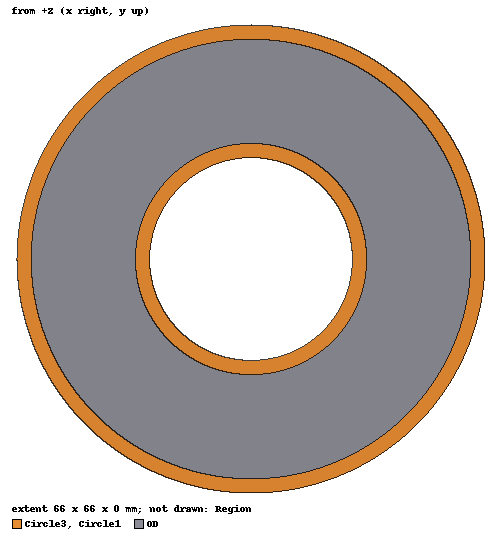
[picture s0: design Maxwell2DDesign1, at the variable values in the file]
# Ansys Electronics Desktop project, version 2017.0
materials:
  vacuum: permittivity=1
  copper: permeability=0.999991 conductivity=58000000
  KoolMu - 0077620A7: permeability{BType=normal HUnit=A_per_meter BUnit=tesla curve (0, 0) (104.1666667, 0.016252994) (111.1111111, 0.017325058) (118.0555556, 0.018395348) (125, 0.019463818) (131.9444444, 0.020530422) (138.8888889, 0.021595119) (145.8333333, 0.022657867) (152.7777778, 0.023718626) (159.7222222, 0.024777358) (166.6666667, 0.025834026) (173.6111111, 0.026888595) (180.5555556, 0.02794103) (187.5, 0.028991297) (194.4444444, 0.030039365) (201.3888889, 0.031085203) (208.3333333, 0.032128779) (215.2777778, 0.033170066) (222.2222222, 0.034209034) (229.1666667, 0.035245657) (236.1111111, 0.036279907) (243.0555556, 0.037311758) (250, 0.038341187) (256.9444444, 0.039368167) (263.8888889, 0.040392677) (270.8333333, 0.041414693) (277.7777778, 0.042434192) (284.7222222, 0.043451154) (291.6666667, 0.044465558) (298.6111111, 0.045477382) (305.5555556, 0.046486609) (312.5, 0.047493218) (319.4444444, 0.048497191) (326.3888889, 0.04949851) (333.3333333, 0.050497159) (340.2777778, 0.051493119) (347.2222222, 0.052486376) (354.1666667, 0.053476912) (361.1111111, 0.054464713) (368.0555556, 0.055449764) (375, 0.05643205) (381.9444444, 0.057411558) (388.8888889, 0.058388274) (395.8333333, 0.059362185) (402.7777778, 0.060333279) (409.7222222, 0.061301543) (416.6666667, 0.062266965) (423.6111111, 0.063229535) (430.5555556, 0.064189241) (437.5, 0.065146073) (444.4444444, 0.066100021) (451.3888889, 0.067051074) (458.3333333, 0.067999224) (465.2777778, 0.068944461) (472.2222222, 0.069886776) (479.1666667, 0.070826161) (486.1111111, 0.071762608) (493.0555556, 0.072696109) (500, 0.073626657) (506.9444444, 0.074554245) (513.8888889, 0.075478865) (520.8333333, 0.076400512) (527.7777778, 0.077319179) (534.7222222, 0.07823486) (541.6666667, 0.07914755) (548.6111111, 0.080057243) (555.5555556, 0.080963934) (562.5, 0.081867619) (569.4444444, 0.082768293) (576.3888889, 0.083665951) (583.3333333, 0.08456059) (590.2777778, 0.085452207) (597.2222222, 0.086340796) (604.1666667, 0.087226356) (611.1111111, 0.088108884) (618.0555556, 0.088988375) (625, 0.089864829) (631.9444444, 0.090738242) (638.8888889, 0.091608613) (645.8333333, 0.09247594) (652.7777778, 0.093340221) (659.7222222, 0.094201454) (666.6666667, 0.095059639) (673.6111111, 0.095914774) (680.5555556, 0.096766858) (687.5, 0.097615892) (694.4444444, 0.098461874) (701.3888889, 0.099304804) (708.3333333, 0.100144683) (715.2777778, 0.10098151) (722.2222222, 0.101815285) (729.1666667, 0.10264601) (736.1111111, 0.103473685) (743.0555556, 0.10429831) (750, 0.105119887) (756.9444444, 0.105938416) (763.8888889, 0.1067539) (770.8333333, 0.107566339) (777.7777778, 0.108375736) (784.7222222, 0.109182092) (791.6666667, 0.109985409) (798.6111111, 0.110785689) (805.5555556, 0.111582934) (812.5, 0.112377147) (819.4444444, 0.11316833) (826.3888889, 0.113956487) (833.3333333, 0.114741619) (840.2777778, 0.11552373) (847.2222222, 0.116302822) (854.1666667, 0.1170789) (861.1111111, 0.117851966) (868.0555556, 0.118622023) (875, 0.119389076) (881.9444444, 0.120153128) (888.8888889, 0.120914182) (895.8333333, 0.121672243) (902.7777778, 0.122427315) (909.7222222, 0.123179401) (916.6666667, 0.123928507) (923.6111111, 0.124674636)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}
  air: permittivity=1.0006 permeability=1.0000004
  steel_1010: permittivity=1 permeability{BType=normal HUnit=A_per_meter BUnit=tesla curve (0, 0) (238.7, 0.2003) (318.3, 0.3204) (358.1, 0.40045) (437.7, 0.50055) (477.5, 0.5606) (636.6, 0.7908) (795.8, 0.931) (1114.1, 1.1014) (1273.2, 1.2016) (1591.5, 1.302) (2228.2, 1.4028) (3183.1, 1.524) (4774.6, 1.626) (6366.2, 1.698) (7957.7, 1.73) (15915.5, 1.87) (31831, 1.99) (47746.5, 2.04) (63662, 2.07) (79577.5, 2.095) (159155, 2.2) (318310, 2.4)} conductivity=2000000 lande_g_factor=2
  NdFe35: permittivity=1 permeability=1.0997785 conductivity=625000 magnetic_coercivity{Magnitude=-890000A_per_meter DirComp1=1 DirComp2=0 DirComp3=0} lande_g_factor=2
  ChinaSteel_35CS300: permeability{BType=normal HUnit=A_per_meter BUnit=tesla curve (0, 0) (20, 0.053) (20.8512, 0.0569) (21.7386, 0.061) (22.6638, 0.0654) (23.6283, 0.0702) (24.6339, 0.0753) (25.6824, 0.0809) (26.7754, 0.0871) (27.9149, 0.094) (29.103, 0.1017) (30.3416, 0.1105) (31.6329, 0.1204) (32.9792, 0.1318) (34.3827, 0.1449) (35.846, 0.1599) (37.3716, 0.1774) (38.9621, 0.1976) (40.6204, 0.2211) (42.3491, 0.2482) (44.1515, 0.2787) (46.0305, 0.3126) (47.9896, 0.3494) (50.032, 0.3886) (52.1613, 0.4298) (54.3813, 0.4727) (56.6957, 0.5168) (59.1086, 0.5617) (61.6243, 0.607) (64.2469, 0.6522) (66.9813, 0.6968) (69.8319, 0.7405) (72.8039, 0.7828) (75.9024, 0.8233) (79.1328, 0.8622) (82.5006, 0.8991) (86.0118, 0.9341) (89.6724, 0.9672) (93.4888, 0.9984) (97.4677, 1.0277) (101.616, 1.0555) (105.941, 1.0818) (110.449, 1.1063) (115.15, 1.129) (120.051, 1.1502) (125.16, 1.1705) (130.487, 1.1897) (136.04, 1.2075) (141.83, 1.2241) (147.866, 1.2398) (154.159, 1.2548) (160.72, 1.2683) (167.56, 1.28) (174.691, 1.2921) (182.126, 1.3043) (189.878, 1.3148) (197.958, 1.3247) (206.384, 1.3341) (215.167, 1.3432) (224.325, 1.3522) (233.872, 1.3609) (243.825, 1.369) (254.202, 1.3762) (265.021, 1.3832) (276.3, 1.3899) (288.059, 1.3962) (300.319, 1.4022) (313.1, 1.4084) (326.425, 1.4146) (340.318, 1.4204) (354.801, 1.4256) (369.902, 1.4304) (385.644, 1.4353) (402.057, 1.4407) (419.169, 1.446) (437.008, 1.4476) (455.607, 1.4508) (474.997, 1.459) (495.213, 1.4633) (516.289, 1.4669) (538.262, 1.4716) (561.17, 1.476) (585.053, 1.4798) (609.952, 1.4836) (635.912, 1.4878) (662.976, 1.492) (691.191, 1.4959) (720.608, 1.4995) (751.277, 1.5032) (783.251, 1.5071) (816.585, 1.5108) (851.339, 1.5141) (887.571, 1.5176) (925.346, 1.5221) (964.728, 1.5264) (1005.79, 1.5294) (1048.59, 1.5324) (1093.22, 1.5356) (1139.75, 1.539) (1188.25, 1.5426) (1238.82, 1.5463) (1291.55, 1.5502) (1346.52, 1.5543) (1403.82, 1.5584) (1463.57, 1.5626) (1525.86, 1.5667) (1590.8, 1.5708) (1658.5, 1.5748) (1729.08, 1.5788) (1802.67, 1.5828) (1879.39, 1.5868) (1959.38, 1.5909) (2042.77, 1.5952) (2129.71, 1.5996) (2220.35, 1.6041) (2314.84, 1.6087) (2413.36, 1.6132) (2516.07, 1.6177) (2623.16, 1.622) (2734.8, 1.6262)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}
  SmCo28: permittivity=1 permeability=1.038389 conductivity=1111111 magnetic_coercivity{Magnitude=-820000A_per_meter DirComp1=1 DirComp2=0 DirComp3=0} lande_g_factor=2
  mu_metal: permittivity=1 permeability{BType=normal HUnit=A_per_meter BUnit=tesla curve (0, 0) (0.8, 0.080001) (1.2, 0.120002) (1.6, 0.150002) (2, 0.190002) (2.4, 0.230003) (2.8, 0.280004) (3.2, 0.300004) (3.6, 0.325004) (4, 0.350005) (4.4, 0.370005) (4.8, 0.390006) (5.2, 0.400006) (5.6, 0.410007) (6.4, 0.430008) (7.2, 0.440009) (8, 0.46001) (11.9, 0.500015) (15.9, 0.52502) (19.9, 0.540025) (23.9, 0.54503) (27.9, 0.555035) (31.8, 0.56004) (35.8, 0.565045) (39.8, 0.57005) (43.8, 0.575055) (47.7, 0.58006) (51.7, 0.585065) (55.7, 0.59007) (63.7, 0.59338) (71.6, 0.59669) (79.6, 0.6001) (119.4, 0.62015) (159.2, 0.6252) (198.9, 0.63025) (238.7, 0.6353) (278.5, 0.64035) (318.3, 0.6454) (358.1, 0.64705) (397.9, 0.6488) (437.7, 0.65055) (477.5, 0.6522) (517.3, 0.65385) (557, 0.6555) (636.6, 0.6572) (716.2, 0.6589) (795.8, 0.661) (1193.7, 0.664) (1591.5, 0.667) (1989.4, 0.67) (2387.3, 0.673) (2785.2, 0.6735) (3183.1, 0.674)} conductivity=1610000 lande_g_factor=2
  KoolMu - 0077620A8 - Linear: permeability=125

design Maxwell2DDesign1 (Maxwell 2D, Magnetostatic, XY geometry, model units mm)
options: BackgroundMaterialName=air
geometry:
  OD [KoolMu - 0077620A7] = circle(normal=Z, centre=(0mm, 0mm, 0mm), radius=31mm)
  ID = circle(normal=Z, centre=(0mm, 0mm, 0mm), radius=16.3mm)
  OD.subtract(ID)
  Region [vacuum] = region(percentage_offset: +X=100, -X=100, +Y=100, -Y=100, +Z=0, -Z=0)
  Circle1 [copper] = circle(normal=Z, centre=(0mm, 0mm, 0mm), radius=16.3mm)
  Circle2 = circle(normal=Z, centre=(0mm, 0mm, 0mm), radius=14.3mm)
  Circle1.subtract(Circle2)
  Circle3 [copper] = circle(normal=Z, centre=(0mm, 0mm, 0mm), radius=33mm)
  Circle4 = circle(normal=Z, centre=(0mm, 0mm, 0mm), radius=31mm)
  Circle3.subtract(Circle4)
  Polyline2 = polyline((-31mm, 0mm, 0mm) (-16.3mm, 0mm, 0mm))
  Polyline3 [non-model] = polyline((-99mm, 0mm, 0mm) (-33mm, 0mm, 0mm))
  Polyline4 [non-model] = polyline((-14.3mm, 0mm, 0mm) (0mm, 0mm, 0mm))
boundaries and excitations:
  VectorPotential1: Vector Potential Edges=Region.edge(all 4) Value=0
  Current1: Current Objects=Circle3 Current=144A IsPositive=true
  Current2: Current Objects=Circle1 Current=144A IsPositive=false
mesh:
  Length1: LengthBased Objects=OD MaxLength=5mm
  Length2: LengthBased Objects=OD MaxLength=5mm
  Length3: LengthBased Objects=OD MaxLength=5mm
  initial mesh: GlobalSurfApproximation{CurvedSurfaceApproxChoice=UseSlider SliderMeshSettings=6} MeshMethod=AnsoftClassic
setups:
  Setup1: Magnetostatic MaximumPasses=10 MinimumPasses=2 MinimumConvergedPasses=1 PercentRefinement=30 PercentError=1 NonLinearResidual=0.0001
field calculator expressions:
  FluxPerMeter = 2D_Normal | B_Vector | Dot | EnterLine(Polyline2) | LineValue | Integrate
  FluxPerMeterLeakOut = 2D_Normal | B_Vector | Dot | EnterLine(Polyline3) | LineValue | Integrate
  FluxPerMeterLeakIn = 2D_Normal | B_Vector | Dot | EnterLine(Polyline4) | LineValue | Integrate
  FluxPerMeterTotal = FluxPerMeterLeakIn | FluxPerMeterLeakOut | + | FluxPerMeter | +
  FluxPerMeterLeak = FluxPerMeterLeakIn | FluxPerMeterLeakOut | +
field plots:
  Mesh1: MeshPlots over OD, Region on Setup1 : LastAdaptive
  Mag_B1: B over Region, OD, Circle3, Circle1 on Setup1 : LastAdaptive
  B_Vector1: B on Setup1 : LastAdaptive
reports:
  Mutual Inductance: FluxPerMeter*36*0.025/4 vs X on Setup1 : LastAdaptive
  Total Inductance: FluxPerMeterTotal * 36 *0.025 / 4 vs X on Setup1 : LastAdaptive
  Leakage Inductance: FluxPerMeterLeak*36*0.025/4 vs X on Setup1 : LastAdaptive
  Data Table 1: FluxPerMeterLeakIn vs X on Setup1 : LastAdaptive

design Maxwell2DDesign2 (Maxwell 2D, Magnetostatic, XY geometry, model units mm)
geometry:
  OD1 [KoolMu - 0077620A7] = circle(normal=Z, centre=(0mm, 0mm, 0mm), radius=31mm)
  ID1 = circle(normal=Z, centre=(0mm, 0mm, 0mm), radius=16.3mm)
  OD1.subtract(ID1)
  Circle5 [copper] = circle(normal=Z, centre=(0mm, 0mm, 0mm), radius=16.3mm)
  Circle7 = circle(normal=Z, centre=(0mm, 0mm, 0mm), radius=14.3mm)
  Circle5.subtract(Circle7)
  Circle6 [copper] = circle(normal=Z, centre=(0mm, 0mm, 0mm), radius=33mm)
  Circle8 = circle(normal=Z, centre=(0mm, 0mm, 0mm), radius=31mm)
  Circle6.subtract(Circle8)
  Region [vacuum] = region(percentage_offset: +X=100, -X=100, +Y=100, -Y=100, +Z=0, -Z=0)
  [Circle5, OD1, Circle6].move(0mm, 1mm, 0mm)
  Circle5_Split1 = Circle5.split(plane=ZX, keep=Both)
  OD1_Split1 = OD1.split(plane=ZX, keep=Both)
  Circle6_Split1 = Circle6.split(plane=ZX, keep=Both)
  [Circle5_Split1, OD1_Split1, Circle6_Split1, Circle5, OD1, Circle6].move(0mm, -2mm, 0mm)
  Circle5_Split1_Split1 = Circle5_Split1.split(plane=ZX, keep=Both)
  OD1_Split1_Split1 = OD1_Split1.split(plane=ZX, keep=Both)
  Circle6_Split1_Split1 = Circle6_Split1.split(plane=ZX, keep=Both)
  [Circle5, OD1, Circle6].split(plane=ZX, keep=Both)
  [OD1_Split1, Circle5_Split1, Circle6_Split1].split(plane=YZ, keep=NegativeOnly)
  Circle5.unite(Circle5_Split1, Circle5_Split1_Split1)
  Circle6.unite(Circle6_Split1, Circle6_Split1_Split1)
  OD1.unite(OD1_Split1, OD1_Split1_Split1)
  [Circle5, OD1, Circle6].move(0mm, 1mm, 0mm)
  Polyline1 = polyline((0mm, 0mm, 0mm) (16mm, 0mm, 0mm))
  Polyline2 = polyline((98.96969mm, 0mm, 0mm) (31mm, 0mm, 0mm))
  Polyline3 = polyline((16mm, 0mm, 0mm) (31mm, 0mm, 0mm))
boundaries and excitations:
  VectorPotential1: Vector Potential Edges=Region.edge(all 4) Value=0
  Current1: Current Objects=Circle6 Current=144A IsPositive=true
  Current2: Current Objects=Circle5 Current=144A IsPositive=false
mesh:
  Length2: LengthBased Objects=[OD1, Circle5, Circle6, Region, Polyline1, Polyline2, Polyline3] MaxLength=1mm
  initial mesh: MeshMethod=AnsoftClassic
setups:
  Setup1: Magnetostatic MaximumPasses=10 MinimumPasses=2 MinimumConvergedPasses=1 PercentRefinement=30 PercentError=1 NonLinearResidual=0.0001
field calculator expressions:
  FluxPerMeterLeakIn = 2D_Normal | B_Vector | Dot | EnterLine(Polyline1) | LineValue | Integrate
  FluxPerMeterLeakOut = 2D_Normal | B_Vector | Dot | EnterLine(Polyline2) | LineValue | Integrate
  FluxPerMeterMutual = 2D_Normal | B_Vector | Dot | EnterLine(Polyline3) | LineValue | Integrate
  FluxPerMeterLeak = FluxPerMeterLeakOut | FluxPerMeterLeakIn | +
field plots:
  Mag_B1: B over Region, OD1 on Setup1 : LastAdaptive
  Mesh1: MeshPlots over Region, OD1, Circle5, Circle6 on Setup1 : LastAdaptive
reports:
  Data Table 3: FluxPerMeterMutual*36*0.025/4, FluxPerMeterLeak*36*0.025/4 vs X on Setup1 : LastAdaptive
